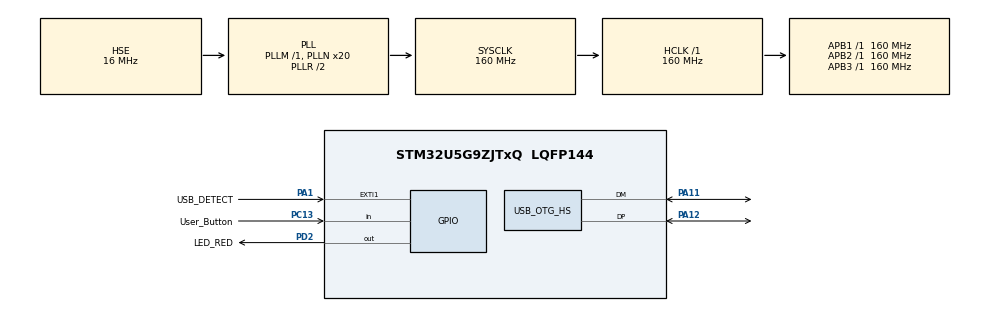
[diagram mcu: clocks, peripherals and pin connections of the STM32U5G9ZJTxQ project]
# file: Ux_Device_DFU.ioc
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CORTEX_M33_NS.userName=CORTEX_M33
Mcu.Family=STM32U5
Mcu.Name=STM32U5G9ZJTxQ
Mcu.Package=LQFP144
NVIC.EXTI1_IRQn=true\:5\:0\:true\:false\:true\:false\:true\:true\:true
NVIC.OTG_HS_IRQn=true\:6\:0\:true\:false\:true\:false\:true\:true\:true
NVIC.PriorityGroup=NVIC_PRIORITYGROUP_4
NVIC.TIM6_IRQn=true\:15\:0\:false\:false\:true\:false\:false\:true\:true
NVIC.TimeBase=TIM6_IRQn
NVIC.TimeBaseIP=TIM6
PA1.GPIO_Label=USB_DETECT
PA1.GPIO_ModeDefaultEXTI=GPIO_MODE_IT_RISING_FALLING
PA1.Signal=GPXTI1
PA11.GPIO_Speed=GPIO_SPEED_FREQ_LOW
PA11.Mode=Internal_Phy_Device
PA11.Signal=USB_OTG_HS_DM
PA12.GPIO_Speed=GPIO_SPEED_FREQ_LOW
PA12.Mode=Internal_Phy_Device
PA12.Signal=USB_OTG_HS_DP
PC13.GPIO_Label=User_Button
PC13.Signal=GPIO_Input
PD2.GPIO_Label=LED_RED
PD2.GPIO_Speed=GPIO_SPEED_FREQ_HIGH
PD2.PinState=GPIO_PIN_SET
PD2.Signal=GPIO_Output
PH0-OSC_IN\ (PH0).Mode=HSE-External-Oscillator
PH0-OSC_IN\ (PH0).Signal=RCC_OSC_IN
PH1-OSC_OUT\ (PH1).Mode=HSE-External-Oscillator
PH1-OSC_OUT\ (PH1).Signal=RCC_OSC_OUT
PWR.PowerMode=PWR_SMPS_SUPPLY
ProjectManager.HeapSize=0x200
ProjectManager.StackSize=0x400
ProjectManager.TargetToolchain=EWARM V8.50
RCC.ADCFreq_Value=16000000
RCC.AHBFreq_Value=160000000
RCC.APB1Freq_Value=160000000
RCC.APB1TimFreq_Value=160000000
RCC.APB2Freq_Value=160000000
RCC.APB2TimFreq_Value=160000000
RCC.APB3Freq_Value=160000000
RCC.CortexFreq_Value=160000000
RCC.DACCLockSelectionVirtual=RCC_DAC1CLKSOURCE_LSI
RCC.EPOD_VALUE=16000000
RCC.HCLKFreq_Value=160000000
RCC.HSE_VALUE=16000000
RCC.HSI48_VALUE=48000000
RCC.HSI_VALUE=16000000
RCC.LSE_VALUE=32768
RCC.LSIDIV_VALUE=32000
RCC.MSIClockRange=RCC_MSIRANGE_0
RCC.MSI_VALUE=48000000
RCC.PLL1P=8
RCC.PLL2FRACN=0
RCC.PLL3FRACN=0
RCC.PLLFRACN=0
RCC.PLLN=20
RCC.PLLSourceVirtual=RCC_PLLSOURCE_HSE
RCC.SYSCLKFreq_VALUE=160000000
RCC.SYSCLKSource=RCC_SYSCLKSOURCE_PLLCLK
RCC.USBPHYCLockSelection=RCC_USBPHYCLKSOURCE_HSE
RCC.VCOOutputFreq_Value=320000000
USBX.BSP.number=1
USBX.Core_System=1
USBX.MAX_POWER_IN_MILLI_AMPER=0
USBX.MEDIA_ERASE_TIME=500
USBX.MEDIA_PROGRAM_TIME=500
USBX.REG_USBX_DEVICE_CON_CK=1
USBX.USBD_COMPOSITE_USE_IAD=0
USBX.USBD_DFU_BM_ATTRIBUTES=11
USBX.USBD_DFU_MEDIA=@Internal Flash   /0x08000000/16*8Ka,240*8Kg
USBX.USBD_PID=57105
USBX.USBD_PRODUCT_STRING=STM Device in DFU Mode
USBX.USBD_SERIAL_NUMBER=DFU001
USBX.USBX_SYS_SIZE=4*1024
USBX.UX_APP_MEM_POOL_SIZE=7168
USBX.UX_DEVICE_CLASS_DFU_ERROR_GET_ENABLE=1
USBX.UX_DEVICE_DFU=1
USBX.UX_Device_Controller=1
USBX.UX_Device_CoreStack=1
USBX.UX_SLAVE_REQUEST_CONTROL_MAX_LENGTH=1024
USBX.UX_SLAVE_REQUEST_DATA_MAX_LENGTH=2048
USBX0.BSP.STBoard=false
USBX0.BSP.api=Unknown
USBX0.BSP.instance=USB_OTG_HS
USBX0.BSP.ip=USB_OTG_HS
USBX0.BSP.mode=Device_Only
USBX0.BSP.name=USBDevice
USBX0.BSP.solution=USB_OTG_HS
USB_OTG_HS.VirtualMode=Device_HS
VP_ICACHE_VS_ICACHE.Mode=DirectMappedCache
VP_PWR_VS_DBSignals.Mode=DisableDeadBatterySignals
VP_PWR_VS_LPOM.Mode=PowerOptimisation
VP_PWR_VS_SECSignals.Mode=Security/Privilege
VP_SYS_VS_tim6.Mode=TIM6
VP_THREADX_VS_RTOSJjThreadXJjCoreJjDefault.Mode=Core_Default
VP_USBX_Core_System.Mode=Core_System
VP_USBX_UX\ Device\ Controller_HS.Mode=UX_Device_Controller_HS
VP_USBX_UX\ Device\ CoreStack_HS.Mode=UX_Device_CoreStack_HS
VP_USBX_UX\ Device\ DFU_HS.Mode=UX_Device_class_DFU_HS
board=custom

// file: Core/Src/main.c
/* USER CODE BEGIN Header */
/**
  ******************************************************************************
  * @file           : main.c
  * @brief          : Main program body
  ******************************************************************************
  * @attention
  *
  * Copyright (c) 2021 STMicroelectronics.
  * All rights reserved.
  *
  * This software is licensed under terms that can be found in the LICENSE file
  * in the root directory of this software component.
  * If no LICENSE file comes with this software, it is provided AS-IS.
  *
  ******************************************************************************
  */
/* USER CODE END Header */
#include "app_threadx.h"
#include "main.h"

/* USER CODE BEGIN PTD */
typedef  void (*pFunction)(void);
/* USER CODE END PTD */

PCD_HandleTypeDef hpcd_USB_OTG_HS;

void SystemClock_Config(void);
static void SystemPower_Config(void);
static void MX_GPIO_Init(void);
static void MX_ICACHE_Init(void);

int main(void)
{

  /* USER CODE BEGIN 1 */
  pFunction JumpToApplication;
  uint32_t JumpAddress;
  /* USER CODE END 1 */

  /* MCU Configuration--------------------------------------------------------*/

  /* Reset of all peripherals, Initializes the Flash interface and the Systick. */
  HAL_Init();

  /* Configure the System Power */
  SystemPower_Config();

  /* Configure the system clock */
  SystemClock_Config();

  /* Initialize all configured peripherals */
  MX_GPIO_Init();
  MX_ICACHE_Init();
  /* USER CODE BEGIN 2 */

  /* Check if the User push-button is pressed */
  if (!HAL_GPIO_ReadPin(User_Button_GPIO_Port, User_Button_Pin))
  {
    /* Test if user code is programmed starting from address 0x08020000 */
    if (((*(__IO uint32_t *) USBD_DFU_APP_DEFAULT_ADDR) & USBD_DFU_APP_MASK) ==
        USBD_DFU_APP_START_ADDR)
    {
      /*  Disable interrupts for timers */
      HAL_NVIC_DisableIRQ(TIM6_IRQn);

      /*  Disable ICACHE */
      HAL_ICACHE_DeInit();

      /* Jump to user application */
      JumpAddress = *(__IO uint32_t *) (USBD_DFU_APP_DEFAULT_ADDR + 4);
      JumpToApplication = (pFunction) JumpAddress;

      /* Initialize user application's Stack Pointer */
#if defined ( __ARMCC_VERSION )
      __ASM volatile
      (
        "msr msp, %0 \n"
        "bx  %1     \n"
        :
        : "r" (*(__IO uint32_t *) USBD_DFU_APP_DEFAULT_ADDR), "r" (JumpToApplication)
        : "memory"
      );
#else
      __set_MSP(*(__IO uint32_t *) USBD_DFU_APP_DEFAULT_ADDR);
      JumpToApplication();
#endif
    }
  }
  /* USER CODE END 2 */

  MX_ThreadX_Init();

  /* We should never get here as control is now taken by the scheduler */

  /* Infinite loop */
  while (1)
  {

  }
}

void SystemClock_Config(void)
{
  RCC_OscInitTypeDef RCC_OscInitStruct = {0};
  RCC_ClkInitTypeDef RCC_ClkInitStruct = {0};

  /** Configure the main internal regulator output voltage
  */
  if (HAL_PWREx_ControlVoltageScaling(PWR_REGULATOR_VOLTAGE_SCALE1) != HAL_OK)
  {
    Error_Handler();
  }

  /** Initializes the CPU, AHB and APB buses clocks
  */
  RCC_OscInitStruct.OscillatorType = RCC_OSCILLATORTYPE_HSE;
  RCC_OscInitStruct.HSEState = RCC_HSE_ON;
  RCC_OscInitStruct.PLL.PLLState = RCC_PLL_ON;
  RCC_OscInitStruct.PLL.PLLSource = RCC_PLLSOURCE_HSE;
  RCC_OscInitStruct.PLL.PLLMBOOST = RCC_PLLMBOOST_DIV1;
  RCC_OscInitStruct.PLL.PLLM = 1;
  RCC_OscInitStruct.PLL.PLLN = 20;
  RCC_OscInitStruct.PLL.PLLP = 8;
  RCC_OscInitStruct.PLL.PLLQ = 2;
  RCC_OscInitStruct.PLL.PLLR = 2;
  RCC_OscInitStruct.PLL.PLLRGE = RCC_PLLVCIRANGE_1;
  RCC_OscInitStruct.PLL.PLLFRACN = 0;
  if (HAL_RCC_OscConfig(&RCC_OscInitStruct) != HAL_OK)
  {
    Error_Handler();
  }

  /** Initializes the CPU, AHB and APB buses clocks
  */
  RCC_ClkInitStruct.ClockType = RCC_CLOCKTYPE_HCLK|RCC_CLOCKTYPE_SYSCLK
                              |RCC_CLOCKTYPE_PCLK1|RCC_CLOCKTYPE_PCLK2
                              |RCC_CLOCKTYPE_PCLK3;
  RCC_ClkInitStruct.SYSCLKSource = RCC_SYSCLKSOURCE_PLLCLK;
  RCC_ClkInitStruct.AHBCLKDivider = RCC_SYSCLK_DIV1;
  RCC_ClkInitStruct.APB1CLKDivider = RCC_HCLK_DIV1;
  RCC_ClkInitStruct.APB2CLKDivider = RCC_HCLK_DIV1;
  RCC_ClkInitStruct.APB3CLKDivider = RCC_HCLK_DIV1;

  if (HAL_RCC_ClockConfig(&RCC_ClkInitStruct, FLASH_LATENCY_4) != HAL_OK)
  {
    Error_Handler();
  }
}

/**
  * @brief Power Configuration
  * @retval None
  */
static void SystemPower_Config(void)
{

  /*
   * Disable the internal Pull-Up in Dead Battery pins of UCPD peripheral
   */
  HAL_PWREx_DisableUCPDDeadBattery();

  /*
   * Switch to SMPS regulator instead of LDO
   */
  if (HAL_PWREx_ConfigSupply(PWR_SMPS_SUPPLY) != HAL_OK)
  {
    Error_Handler();
  }
}

static void MX_ICACHE_Init(void)
{

  /** Enable instruction cache in 1-way (direct mapped cache)
  */
  if (HAL_ICACHE_ConfigAssociativityMode(ICACHE_1WAY) != HAL_OK)
  {
    Error_Handler();
  }
  if (HAL_ICACHE_Enable() != HAL_OK)
  {
    Error_Handler();
  }

}

void MX_USB_OTG_HS_PCD_Init(void)
{

  hpcd_USB_OTG_HS.Instance = USB_OTG_HS;
  hpcd_USB_OTG_HS.Init.dev_endpoints = 9;
  hpcd_USB_OTG_HS.Init.speed = PCD_SPEED_HIGH;
  hpcd_USB_OTG_HS.Init.phy_itface = USB_OTG_HS_EMBEDDED_PHY;
  hpcd_USB_OTG_HS.Init.Sof_enable = DISABLE;
  hpcd_USB_OTG_HS.Init.low_power_enable = DISABLE;
  hpcd_USB_OTG_HS.Init.lpm_enable = DISABLE;
  hpcd_USB_OTG_HS.Init.use_dedicated_ep1 = DISABLE;
  hpcd_USB_OTG_HS.Init.vbus_sensing_enable = DISABLE;
  hpcd_USB_OTG_HS.Init.dma_enable = DISABLE;
  if (HAL_PCD_Init(&hpcd_USB_OTG_HS) != HAL_OK)
  {
    Error_Handler();
  }
  /* USER CODE BEGIN USB_OTG_HS_Init 2 */
  /* Set Rx FIFO */
  HAL_PCDEx_SetRxFiFo(&hpcd_USB_OTG_HS, 0x200);
  /* Set Tx FIFO */
  HAL_PCDEx_SetTxFiFo(&hpcd_USB_OTG_HS, 0, USBD_MAX_EP0_SIZE / 4);
  /* USER CODE END USB_OTG_HS_Init 2 */

}

static void MX_GPIO_Init(void)
{
  GPIO_InitTypeDef GPIO_InitStruct = {0};

  /* GPIO Ports Clock Enable */
  __HAL_RCC_GPIOC_CLK_ENABLE();
  __HAL_RCC_GPIOH_CLK_ENABLE();
  __HAL_RCC_GPIOA_CLK_ENABLE();
  __HAL_RCC_GPIOD_CLK_ENABLE();

  /*Configure GPIO pin Output Level */
  HAL_GPIO_WritePin(LED_RED_GPIO_Port, LED_RED_Pin, GPIO_PIN_SET);

  /*Configure GPIO pin : User_Button_Pin */
  GPIO_InitStruct.Pin = User_Button_Pin;
  GPIO_InitStruct.Mode = GPIO_MODE_INPUT;
  GPIO_InitStruct.Pull = GPIO_NOPULL;
  HAL_GPIO_Init(User_Button_GPIO_Port, &GPIO_InitStruct);

  /*Configure GPIO pin : USB_DETECT_Pin */
  GPIO_InitStruct.Pin = USB_DETECT_Pin;
  GPIO_InitStruct.Mode = GPIO_MODE_IT_RISING_FALLING;
  GPIO_InitStruct.Pull = GPIO_NOPULL;
  HAL_GPIO_Init(USB_DETECT_GPIO_Port, &GPIO_InitStruct);

  /*Configure GPIO pin : LED_RED_Pin */
  GPIO_InitStruct.Pin = LED_RED_Pin;
  GPIO_InitStruct.Mode = GPIO_MODE_OUTPUT_PP;
  GPIO_InitStruct.Pull = GPIO_NOPULL;
  GPIO_InitStruct.Speed = GPIO_SPEED_FREQ_HIGH;
  HAL_GPIO_Init(LED_RED_GPIO_Port, &GPIO_InitStruct);

  /* EXTI interrupt init*/
  HAL_NVIC_SetPriority(EXTI1_IRQn, 5, 0);
  HAL_NVIC_EnableIRQ(EXTI1_IRQn);

}

void HAL_TIM_PeriodElapsedCallback(TIM_HandleTypeDef *htim)
{
  if (htim->Instance == TIM6)
  {
    HAL_IncTick();
  }
}

void Error_Handler(void)
{
  while (1)
  {
  }
}
